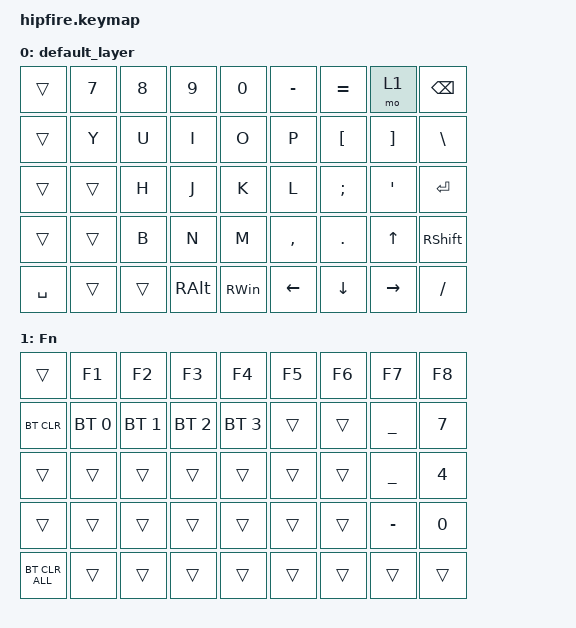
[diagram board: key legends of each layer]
#include <behaviors.dtsi>
#include <dt-bindings/zmk/keys.h>
#include <dt-bindings/zmk/bt.h>

/ {
    keymap {
        compatible = "zmk,keymap";
        default_layer { // Layer 0
            bindings = <
            &trans      &kp N7      &kp N8      &kp N9      &kp N0      &kp MINUS       &kp EQUAL           &mo 1            &kp BSPC 
            &trans      &kp Y       &kp U       &kp I       &kp O       &kp P           &kp LBKT            &kp RBKT            &kp BACKSLASH  
            &trans      &trans      &kp H       &kp J       &kp K       &kp L           &kp SEMICOLON       &kp SINGLE_QUOTE    &kp ENTER  
            &trans      &trans      &kp B      &kp N       &kp M       &kp COMMA       &kp PERIOD          &kp UP              &kp RSHIFT 
            &kp SPACE   &trans      &trans      &kp RALT    &kp RWIN    &kp LEFT        &kp DOWN            &kp RIGHT           &kp SLASH
            >;
        };
        fn_layer { // Layer 1
            display-name = "Fn";
            bindings = <
                &trans      &kp F1       &kp F2       &kp F3         &kp F4       &kp F5 &kp F6                  &kp F7          &kp F8  
                &bt BT_CLR  &bt BT_SEL 0 &bt BT_SEL 1 &bt BT_SEL 2   &bt BT_SEL 3 &trans &trans                  &kp UNDERSCORE  &kp N7  
                &trans      &trans       &trans       &trans         &trans       &trans &trans                  &kp UNDERSCORE  &kp N4  
                &trans      &trans       &trans       &trans         &trans       &trans &trans                  &kp MINUS       &kp N0  
                &bt BT_CLR_ALL	      &trans       &trans       &trans         &trans       &trans &trans                  &trans          &trans  
            >;
        };
    };
 };
